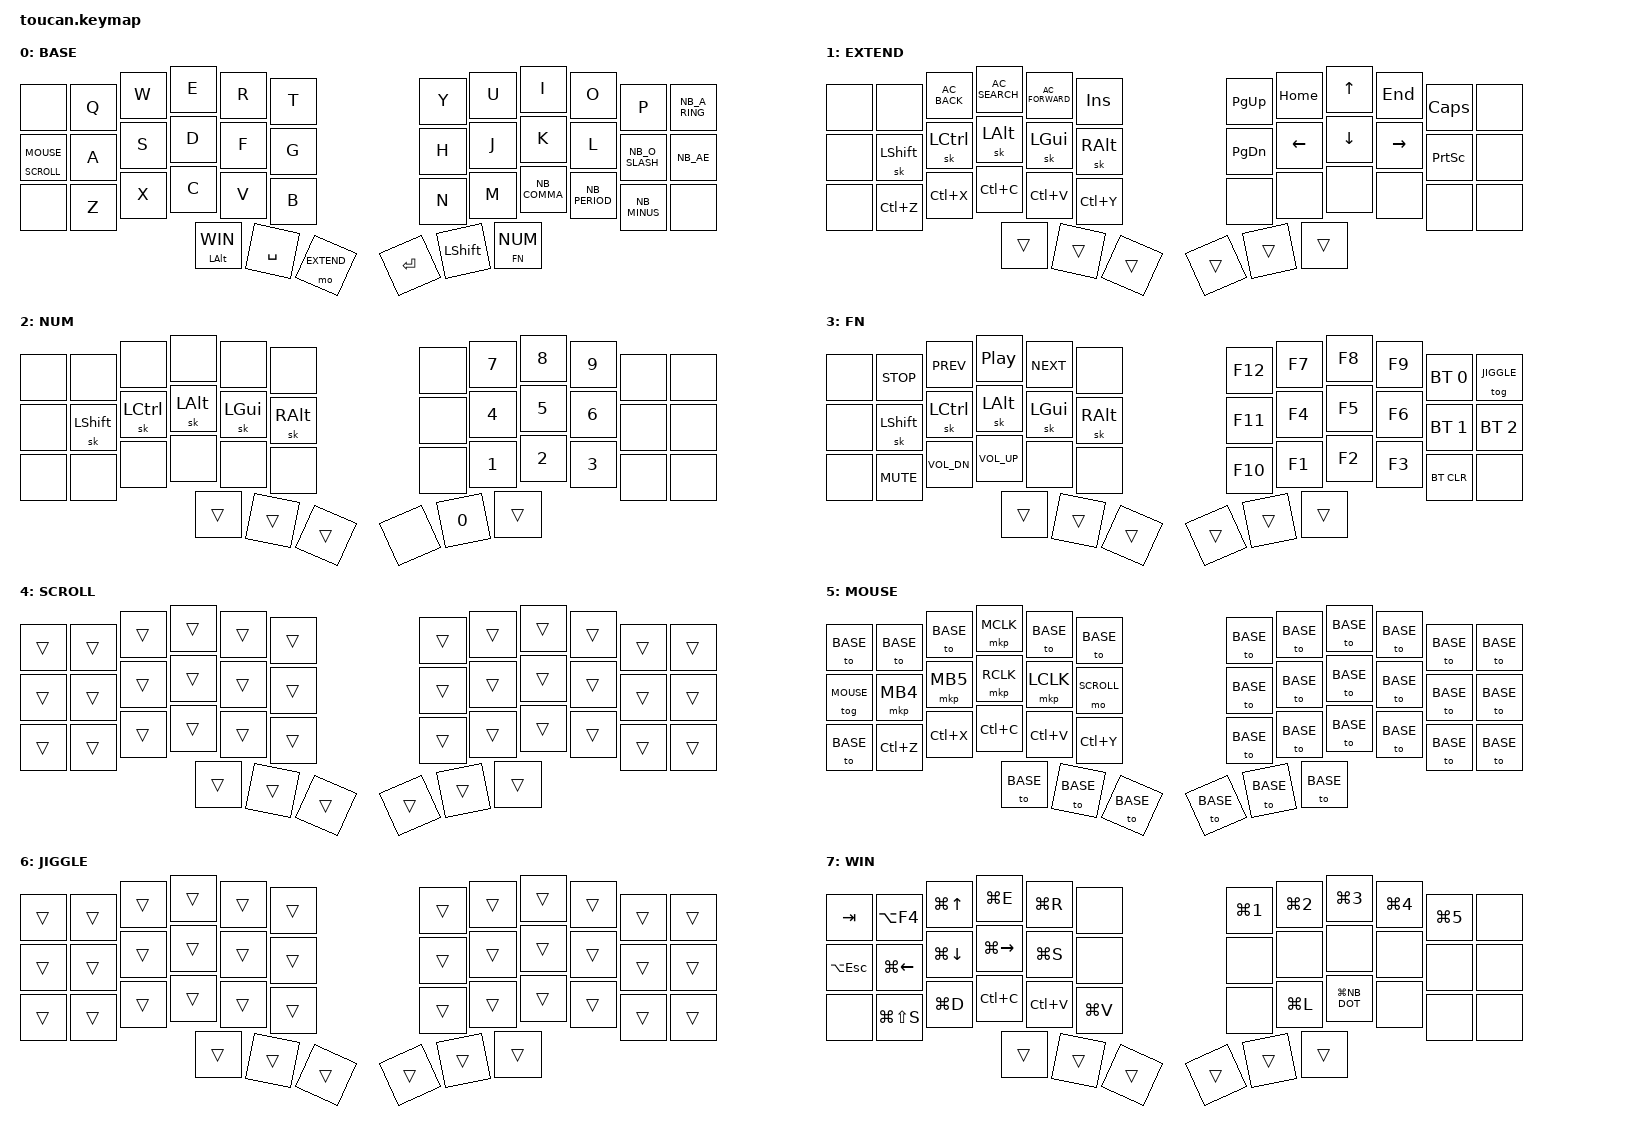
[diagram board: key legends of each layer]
#include <behaviors.dtsi>
#include <dt-bindings/zmk/keys.h>
#include <dt-bindings/zmk/bt.h>
#include <dt-bindings/zmk/outputs.h>
#include <dt-bindings/zmk/mouse.h>
#include <behaviors/num_word.dtsi>
#include "keys_nb.h"

#define BASE 0
#define EXTEND 1
#define SYM  2
#define NUM  3
#define FN   4
#define SCROLL 5
#define MOUSE 6
#define JIGGLE 7
#define WIN    8

/ {
    behaviors {
        tp_layer: tap_preferred_layer {
            compatible = "zmk,behavior-hold-tap";
            #binding-cells = <2>;
            tapping-term-ms = <200>;
            quick-tap-ms = <200>;
            flavor = "tap-preferred";
            bindings = <&mo>, <&tog>;
        };

        smart_num: smart_num {
            compatible = "zmk,behavior-hold-tap";
            #binding-cells = <2>;
            flavor = "hold-preferred";
            tapping-term-ms = <200>;
            bindings = <&mo>, <&num_word>;
        };
    };

    macros {
        m_win_tab: m_win_tab {
            compatible = "zmk,behavior-macro";
            #binding-cells = <0>;
            wait-ms = <0>;
            tap-ms = <0>;
            bindings
                = <&macro_release &kp LALT>
                , <&macro_press &kp LGUI>
                , <&macro_tap &kp TAB>
                , <&macro_pause_for_release>
                , <&macro_release &kp LGUI>
                , <&macro_press &kp LALT>
                ;
        };

        m_ctrl_tab: m_ctrl_tab {
            compatible = "zmk,behavior-macro";
            #binding-cells = <0>;
            wait-ms = <0>;
            tap-ms = <0>;
            bindings
                = <&macro_release &kp LALT>
                , <&macro_press &kp LCTRL>
                , <&macro_tap &kp TAB>
                , <&macro_pause_for_release>
                , <&macro_release &kp LCTRL>
                , <&macro_press &kp LALT>
                ;
        };
    };

    combos {
        compatible = "zmk,combos";

        // Left Horizontal
        combo_esc { timeout-ms = <30>; key-positions = <2 3>; bindings = <&kp ESC>; };
        combo_mouse { timeout-ms = <30>; key-positions = <3 4>; bindings = <&tog MOUSE>; };
        combo_tab { timeout-ms = <30>; key-positions = <14 15>; bindings = <&kp TAB>; };

        combo_less { timeout-ms = <30>; key-positions = <26 27>; bindings = <&kp NB_LESS_THAN>; };
        combo_greater { timeout-ms = <30>; key-positions = <27 28>; bindings = <&kp NB_GREATER_THAN>; };

        // Right Horizontal
        combo_bspc { timeout-ms = <30>; key-positions = <7 8>; bindings = <&kp BSPC>; };
        combo_del { timeout-ms = <30>; key-positions = <8 9>; bindings = <&kp DEL>; };
        combo_lpar { timeout-ms = <30>; key-positions = <19 20>; bindings = <&kp NB_LPAR>; };
        combo_rpar { timeout-ms = <30>; key-positions = <20 21>; bindings = <&kp NB_RPAR>; };
        combo_lbkt { timeout-ms = <30>; key-positions = <31 32>; bindings = <&kp NB_LBKT>; };
        combo_rbkt { timeout-ms = <30>; key-positions = <32 33>; bindings = <&kp NB_RBKT>; };

        // Left Vertical
        combo_excl { timeout-ms = <30>; key-positions = <1 13>; bindings = <&kp NB_EXCLAMATION>; };
        combo_at { timeout-ms = <30>; key-positions = <2 14>; bindings = <&kp NB_AT>; };
        combo_hash { timeout-ms = <30>; key-positions = <3 15>; bindings = <&kp NB_POUND>; };
        combo_dllr { timeout-ms = <30>; key-positions = <4 16>; bindings = <&kp NB_DLLR>; };
        combo_prcnt { timeout-ms = <30>; key-positions = <5 17>; bindings = <&kp NB_PRCNT>; };

        combo_grave { timeout-ms = <30>; key-positions = <14 26>; bindings = <&kp NB_GRAVE>; };
        combo_bslh { timeout-ms = <30>; key-positions = <15 27>; bindings = <&kp NB_BSLH>; };
        combo_tilde { timeout-ms = <30>; key-positions = <17 29>; bindings = <&kp NB_TILDE>; };

        // Right Vertical
        combo_caret { timeout-ms = <30>; key-positions = <6 18>; bindings = <&kp NB_CARET>; };
        combo_plus { timeout-ms = <30>; key-positions = <7 19>; bindings = <&kp NB_PLUS>; };
        combo_star { timeout-ms = <30>; key-positions = <8 20>; bindings = <&kp NB_STAR>; };
        combo_amps { timeout-ms = <30>; key-positions = <9 21>; bindings = <&kp NB_AMPS>; };
        combo_equal { timeout-ms = <30>; key-positions = <10 22>; bindings = <&kp NB_EQUAL>; };

        combo_leftbrace { timeout-ms = <30>; key-positions = <18 30>; bindings = <&kp NB_LEFT_BRACE>; };
        combo_rightbrace { timeout-ms = <30>; key-positions = <19 31>; bindings = <&kp NB_RIGHT_BRACE>; };
        combo_fslh { timeout-ms = <30>; key-positions = <20 32>; bindings = <&kp NB_FSLH>; };
        combo_pipe { timeout-ms = <30>; key-positions = <21 33>; bindings = <&kp NB_PIPE>; };
    };

    keymap {
        compatible = "zmk,keymap";

        base {
            display-name = "BASE";
            bindings = <
                &none &kp Q    &kp W    &kp E    &kp R    &kp T        &kp Y   &kp U   &kp I     &kp O   &kp P    &kp NB_A_RING
                &tp_layer SCROLL MOUSE &kp A    &kp S    &kp D    &kp F    &kp G        &kp H   &kp J   &kp K     &kp L   &kp NB_O_SLASH &kp NB_AE
                &none  &kp Z    &kp X    &kp C    &kp V    &kp B        &kp N   &kp M   &kp NB_COMMA &kp NB_PERIOD &kp NB_MINUS &none
                                 &mt LALT WIN &kp SPACE &mo EXTEND       &kp RET &kp LSHIFT  &smart_num FN NUM
            >;
        };

        extend {
            display-name = "EXTEND";
            bindings = <
                &none &none    &kp C_AC_BACK &kp C_AC_SEARCH  &kp C_AC_FORWARD  &kp INSERT    &kp PG_UP  &kp HOME &kp UP   &kp END   &kp CAPSLOCK &none
                &none &sk LSHIFT &sk LCTRL  &sk LALT    &sk LGUI   &sk RALT                     &kp PG_DN  &kp LEFT &kp DOWN &kp RIGHT  &kp PSCRN     &none
                &none &kp LC(Z)  &kp LC(X)  &kp LC(C)   &kp LC(V)  &kp LC(Y)                     &none &none &none  &none     &none    &none
                                            &trans      &trans     &trans                       &trans     &trans   &trans
            >;
        };


        num {
            display-name = "NUM";
            bindings = <
                &none &none      &none      &none       &none      &none         &none   &kp N7 &kp N8 &kp N9 &none &none
                &none &sk LSHIFT &sk LCTRL  &sk LALT    &sk LGUI   &sk RALT      &none &kp N4 &kp N5 &kp N6 &none  &none
                &none &none      &none      &none       &none      &none         &none         &kp N1 &kp N2 &kp N3 &none      &none
                                            &trans      &trans     &trans        &none          &kp N0 &trans
            >;
        };

        fn {
            display-name = "FN";
            bindings = <
                &none &kp C_STOP &kp C_PREV &kp C_PP      &kp C_NEXT &none           &kp F12 &kp F7  &kp F8  &kp F9  &bt BT_SEL 0 &tog JIGGLE
                &none &sk LSHIFT &sk LCTRL  &sk LALT    &sk LGUI   &sk RALT          &kp F11 &kp F4  &kp F5  &kp F6  &bt BT_SEL 1 &bt BT_SEL 2
                &none &kp C_MUTE &kp C_VOL_DN &kp C_VOL_UP &none     &none           &kp F10 &kp F1  &kp F2  &kp F3  &bt BT_CLR   &none
                                            &trans      &trans     &trans        &trans  &trans  &trans
            >;
        };

        scroll {
            display-name = "SCROLL";
            bindings = <
                &trans &trans &trans &trans &trans &trans &trans &trans &trans &trans &trans &trans
                &trans &trans &trans &trans &trans &trans &trans &trans &trans &trans &trans &trans
                &trans &trans &trans &trans &trans &trans &trans &trans &trans &trans &trans &trans
                              &trans &trans &trans &trans &trans &trans
            >;
        };

        mouse {
            display-name = "MOUSE";
            bindings = <
                &to BASE &to BASE  &to BASE   &mkp MCLK  &to BASE   &to BASE     &to BASE &to BASE &to BASE &to BASE &to BASE &to BASE
                &tog MOUSE &mkp MB4   &mkp MB5   &mkp RCLK  &mkp LCLK  &mo SCROLL   &to BASE &to BASE &to BASE &to BASE &to BASE &to BASE
                &to BASE &kp LC(Z)  &kp LC(X)  &kp LC(C)   &kp LC(V)  &kp LC(Y)    &to BASE &to BASE &to BASE &to BASE &to BASE &to BASE
                                   &to BASE &to BASE   &to BASE                &to BASE &to BASE &to BASE
            >;
        };

        jiggle {
            display-name = "JIGGLE";
            bindings = <
                &trans &trans &trans &trans &trans &trans     &trans &trans &trans &trans &trans &trans
                &trans &trans &trans &trans &trans &trans     &trans &trans &trans &trans &trans &trans
                &trans &trans &trans &trans &trans &trans     &trans &trans &trans &trans &trans &trans
                              &trans &trans &trans            &trans &trans &trans
            >;
        };

        win_shortcuts {
            display-name = "WIN";
            bindings = <
                &kp TAB       &kp LA(F4)    &kp LG(UP)    &kp LG(E)     &kp LG(R)     &none         &kp LG(N1) &kp LG(N2) &kp LG(N3) &kp LG(N4) &kp LG(N5) &none
                &kp LA(ESC)   &kp LG(LEFT)  &kp LG(DOWN)  &kp LG(RIGHT) &kp LG(S)     &none         &none      &none      &none      &none      &none      &none
                &none         &kp LG(LS(S)) &kp LG(D)     &kp LC(C)     &kp LC(V)     &kp LG(V)     &none      &kp LG(L)  &kp LG(NB_DOT) &none  &none      &none
                                            &trans        &trans        &trans                      &trans     &trans     &trans
            >;
        };
    };
};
